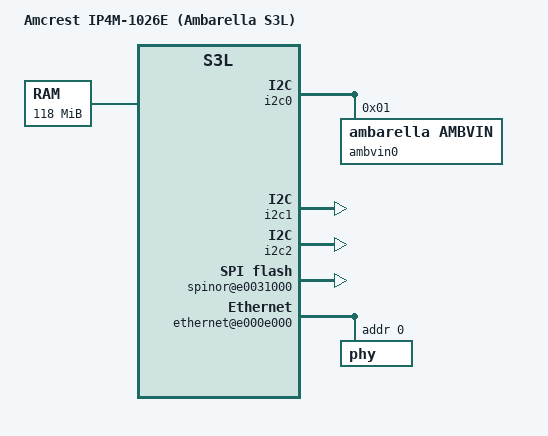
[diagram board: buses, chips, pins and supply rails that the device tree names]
/*
 * Amcrest IP4M-1026E (Dahua IPC-HFW1430SN)
 * Ambarella S3L, OmniVision OV4689 (MIPI), 512 MiB DDR3, 32 MiB W25Q256JV SPI-NOR,
 * RTL8201F PHY (RMII). No audio codec, and no SD slot on this HWID (tools/iav/s3l/BOARD-IO.md).
 *
 * The Dahua U-Boot 2010.06 on this board boots with ATAGs, so the kernel is built with this
 * DTB appended. Flash partitions and the root device come from the kernel command line.
 *
 * This program is free software; you can redistribute it and/or modify
 * it under the terms of the GNU General Public License version 2 as
 * published by the Free Software Foundation.
 */
/dts-v1/;

/include/ "ambarella-s3l.dtsi"

/ {
	model = "Amcrest IP4M-1026E (Ambarella S3L)";
	compatible = "amcrest,ip4m-1026e", "ambarella,s3l";

	/*
	 * 512 MiB DRAM, split as the stock firmware does: Linux gets 118 MiB above the boot area
	 * (the dtsi's 126 MiB default would overlap the DSP), and the DSP everything above.
	 */
	memory {
		device_type = "memory";
		reg = <0x00200000 0x07600000>;
	};

	/* The DSP microcode and its queues sit at the top of this region. */
	iavmem {
		device_type = "iavmem";
		reg = <0x07800000 0x18800000>;
	};

	apb@e8000000 {
		i2c0: i2c@e8003000 {
			status = "okay";

			/*
			 * VIN sensor placeholder. Sensor modules call ambpriv_i2c_update_addr(), which
			 * renames this client to the sensor (e.g. "ov4689" at 0x36) so the i2c driver
			 * binds; without it no VIN source registers.
			 */
			ambvin0@01 {
				compatible = "ambarella,ambvin";
				reg = <0x01>;
			};
		};

		i2c1: i2c@e8001000 {
			status = "okay";
		};

		i2c2: i2c@e8007000 {
			status = "okay";
		};

		/* No IR remote receiver: its pin, GPIO 34, is the reset button (active low). */
		ir@e8006000 {
			status = "disabled";
		};
	};

	ahb@e0000000 {
		/* NAND pins overlap the SPI-NOR pins; this board has no NAND. */
		nand@e0001000 {
			status = "disabled";
		};

		spinor@e0031000 {
			status = "okay";
		};

		/* No codec (HWID audioin 0): the I2S pins (GPIO 42-46) stay free. */
		i2s@e001a000 {
			status = "disabled";
		};

		/* No SD slot on this HWID; the stock firmware drives its card-detect pin, GPIO 60, as a status LED. */
		sdmmc0@e0002000 {
			status = "disabled";
		};

		ethernet@e000e000 {
			pinctrl-names = "default";
			pinctrl-0 = <&rmii_pins &mdio_gpio_pins>;

			phy@0 {
				reg = <0>;
			};
		};
	};

	iav {
		vinc0 {
			/*
			 * OV4689 XSHUTDN is GPIO 107, active low: the sensor answers on I2C (chip ID 0x4688
			 * at 0x36) only while it is driven high. The flag is the level that asserts reset
			 * (vin_hw_poweron writes it, waits, then writes its inverse), so 0 = active low.
			 */
			vinrst-gpios = <&gpio 107 0>;
		};
	};

	/* GPIO-bitbang MDIO on GPIO 26/27 would fight the MAC for the same pins. */
	mdio {
		status = "disabled";
	};
};
